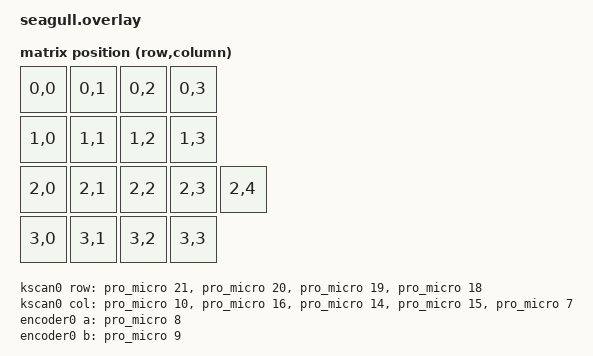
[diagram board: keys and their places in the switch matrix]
#include <dt-bindings/zmk/matrix_transform.h>

/ {
    chosen {
        zmk,kscan = &kscan0;
        zmk,matrix_transform = &default_transform;
        zephyr,display = &oled;
    };

    default_transform: keymap_transform {
        compatible = "zmk,matrix-transform";
        rows = <4>;
        columns = <5>;
        map = <
            RC(0,0) RC(0,1) RC(0,2) RC(0,3)
            RC(1,0) RC(1,1) RC(1,2) RC(1,3)
            RC(2,0) RC(2,1) RC(2,2) RC(2,3) RC(2,4)
            RC(3,0) RC(3,1) RC(3,2) RC(3,3)
        >;
    };

    kscan0: kscan {
        compatible = "zmk,kscan-gpio-matrix";
        diode-direction = "col2row";

        row-gpios = <&pro_micro 21 GPIO_ACTIVE_HIGH>,
                    <&pro_micro 20 GPIO_ACTIVE_HIGH>,
                    <&pro_micro 19 GPIO_ACTIVE_HIGH>,
                    <&pro_micro 18 GPIO_ACTIVE_HIGH>;

        col-gpios = <&pro_micro 10 GPIO_ACTIVE_HIGH>,
                    <&pro_micro 16 GPIO_ACTIVE_HIGH>,
                    <&pro_micro 14 GPIO_ACTIVE_HIGH>,
                    <&pro_micro 15 GPIO_ACTIVE_HIGH>,
                    <&pro_micro 7  GPIO_ACTIVE_HIGH>;
    };

    encoder0: encoder {
        compatible = "alps,ec11";
        a-gpios = <&pro_micro 8 GPIO_ACTIVE_HIGH>;
        b-gpios = <&pro_micro 9 GPIO_ACTIVE_HIGH>;
        steps = <48>;
    };

    sensors {
        compatible = "zmk,keymap-sensors";
        sensors = <&encoder0>;
        triggers-per-rotation = <12>;
    };
};

&pro_micro_i2c {
    status = "okay";

    oled: ssd1306@3c {
        compatible = "solomon,ssd1306fb";
        reg = <0x3c>;
        width = <128>;
        height = <32>;
    };
};
